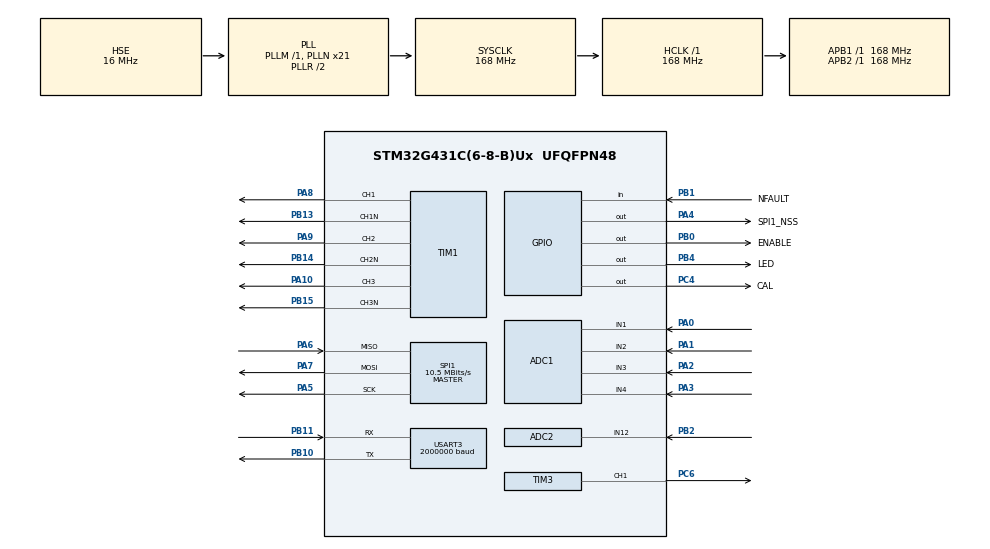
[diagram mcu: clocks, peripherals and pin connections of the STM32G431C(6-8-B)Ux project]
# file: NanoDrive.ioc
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ADC1.Channel-0\#ChannelRegularConversion=ADC_CHANNEL_4
ADC1.ContinuousConvMode=ENABLE
ADC1.DMAContinuousRequests=ENABLE
ADC1.EnableInjectedConversion=ENABLE
ADC1.ExternalTrigInjecConv=ADC_EXTERNALTRIGINJEC_T1_TRGO
ADC1.ExternalTrigInjecConvEdge=ADC_EXTERNALTRIGINJECCONV_EDGE_RISING
ADC1.InjNumberOfConversion=3
ADC1.InjectedChannel-1\#ChannelInjectedConversion=ADC_CHANNEL_1
ADC1.InjectedChannel-2\#ChannelInjectedConversion=ADC_CHANNEL_2
ADC1.InjectedChannel-3\#ChannelInjectedConversion=ADC_CHANNEL_3
ADC1.InjectedOffsetNumber-1\#ChannelInjectedConversion=ADC_OFFSET_NONE
ADC1.InjectedOffsetNumber-2\#ChannelInjectedConversion=ADC_OFFSET_NONE
ADC1.InjectedOffsetNumber-3\#ChannelInjectedConversion=ADC_OFFSET_NONE
ADC1.InjectedRank-1\#ChannelInjectedConversion=1
ADC1.InjectedRank-2\#ChannelInjectedConversion=2
ADC1.InjectedRank-3\#ChannelInjectedConversion=3
ADC1.InjectedSamplingTime-1\#ChannelInjectedConversion=ADC_SAMPLETIME_2CYCLES_5
ADC1.InjectedSamplingTime-2\#ChannelInjectedConversion=ADC_SAMPLETIME_2CYCLES_5
ADC1.InjectedSamplingTime-3\#ChannelInjectedConversion=ADC_SAMPLETIME_2CYCLES_5
ADC1.NbrOfConversionFlag=1
ADC1.OffsetNumber-0\#ChannelRegularConversion=ADC_OFFSET_NONE
ADC1.Rank-0\#ChannelRegularConversion=1
ADC1.Rank1_Channel=ADC_CHANNEL_1
ADC1.Rank2_Channel=ADC_CHANNEL_2
ADC1.Rank3_Channel=ADC_CHANNEL_3
ADC1.SamplingTime-0\#ChannelRegularConversion=ADC_SAMPLETIME_640CYCLES_5
ADC1.injectedQueueMode=DISABLE
ADC1.master=1
ADC2.Channel-0\#ChannelRegularConversion=ADC_CHANNEL_12
ADC2.ContinuousConvMode=ENABLE
ADC2.DMAContinuousRequests=ENABLE
ADC2.NbrOfConversionFlag=1
ADC2.OffsetNumber-0\#ChannelRegularConversion=ADC_OFFSET_NONE
ADC2.Rank-0\#ChannelRegularConversion=1
ADC2.SamplingTime-0\#ChannelRegularConversion=ADC_SAMPLETIME_640CYCLES_5
Dma.ADC1.3.Direction=DMA_PERIPH_TO_MEMORY
Dma.ADC1.3.EventEnable=DISABLE
Dma.ADC1.3.Instance=DMA1_Channel4
Dma.ADC1.3.MemDataAlignment=DMA_MDATAALIGN_HALFWORD
Dma.ADC1.3.MemInc=DMA_MINC_ENABLE
Dma.ADC1.3.Mode=DMA_CIRCULAR
Dma.ADC1.3.PeriphDataAlignment=DMA_PDATAALIGN_HALFWORD
Dma.ADC1.3.PeriphInc=DMA_PINC_DISABLE
Dma.ADC1.3.Polarity=HAL_DMAMUX_REQ_GEN_RISING
Dma.ADC1.3.Priority=DMA_PRIORITY_LOW
Dma.ADC1.3.RequestNumber=1
Dma.ADC1.3.SignalID=NONE
Dma.ADC1.3.SyncEnable=DISABLE
Dma.ADC1.3.SyncPolarity=HAL_DMAMUX_SYNC_NO_EVENT
Dma.ADC1.3.SyncRequestNumber=1
Dma.ADC1.3.SyncSignalID=NONE
Dma.ADC2.2.Direction=DMA_PERIPH_TO_MEMORY
Dma.ADC2.2.EventEnable=DISABLE
Dma.ADC2.2.Instance=DMA1_Channel3
Dma.ADC2.2.MemDataAlignment=DMA_MDATAALIGN_HALFWORD
Dma.ADC2.2.MemInc=DMA_MINC_ENABLE
Dma.ADC2.2.Mode=DMA_CIRCULAR
Dma.ADC2.2.PeriphDataAlignment=DMA_PDATAALIGN_HALFWORD
Dma.ADC2.2.PeriphInc=DMA_PINC_DISABLE
Dma.ADC2.2.Polarity=HAL_DMAMUX_REQ_GEN_RISING
Dma.ADC2.2.Priority=DMA_PRIORITY_LOW
Dma.ADC2.2.RequestNumber=1
Dma.ADC2.2.SignalID=NONE
Dma.ADC2.2.SyncEnable=DISABLE
Dma.ADC2.2.SyncPolarity=HAL_DMAMUX_SYNC_NO_EVENT
Dma.ADC2.2.SyncRequestNumber=1
Dma.ADC2.2.SyncSignalID=NONE
Dma.Request0=USART3_TX
Dma.Request1=USART3_RX
Dma.Request2=ADC2
Dma.Request3=ADC1
Dma.Request4=TIM3_CH1
Dma.TIM3_CH1.4.Direction=DMA_MEMORY_TO_PERIPH
Dma.TIM3_CH1.4.EventEnable=DISABLE
Dma.TIM3_CH1.4.Instance=DMA1_Channel5
Dma.TIM3_CH1.4.MemDataAlignment=DMA_MDATAALIGN_HALFWORD
Dma.TIM3_CH1.4.MemInc=DMA_MINC_ENABLE
Dma.TIM3_CH1.4.Mode=DMA_NORMAL
Dma.TIM3_CH1.4.PeriphDataAlignment=DMA_PDATAALIGN_HALFWORD
Dma.TIM3_CH1.4.PeriphInc=DMA_PINC_DISABLE
Dma.TIM3_CH1.4.Polarity=HAL_DMAMUX_REQ_GEN_RISING
Dma.TIM3_CH1.4.Priority=DMA_PRIORITY_LOW
Dma.TIM3_CH1.4.RequestNumber=1
Dma.TIM3_CH1.4.SignalID=NONE
Dma.TIM3_CH1.4.SyncEnable=DISABLE
Dma.TIM3_CH1.4.SyncPolarity=HAL_DMAMUX_SYNC_NO_EVENT
Dma.TIM3_CH1.4.SyncRequestNumber=1
Dma.TIM3_CH1.4.SyncSignalID=NONE
Dma.USART3_RX.1.Direction=DMA_PERIPH_TO_MEMORY
Dma.USART3_RX.1.EventEnable=DISABLE
Dma.USART3_RX.1.Instance=DMA1_Channel2
Dma.USART3_RX.1.MemDataAlignment=DMA_MDATAALIGN_BYTE
Dma.USART3_RX.1.MemInc=DMA_MINC_ENABLE
Dma.USART3_RX.1.Mode=DMA_NORMAL
Dma.USART3_RX.1.PeriphDataAlignment=DMA_PDATAALIGN_BYTE
Dma.USART3_RX.1.PeriphInc=DMA_PINC_DISABLE
Dma.USART3_RX.1.Polarity=HAL_DMAMUX_REQ_GEN_RISING
Dma.USART3_RX.1.Priority=DMA_PRIORITY_LOW
Dma.USART3_RX.1.RequestNumber=1
Dma.USART3_RX.1.SignalID=NONE
Dma.USART3_RX.1.SyncEnable=DISABLE
Dma.USART3_RX.1.SyncPolarity=HAL_DMAMUX_SYNC_NO_EVENT
Dma.USART3_RX.1.SyncRequestNumber=1
Dma.USART3_RX.1.SyncSignalID=NONE
Dma.USART3_TX.0.Direction=DMA_MEMORY_TO_PERIPH
Dma.USART3_TX.0.EventEnable=DISABLE
Dma.USART3_TX.0.Instance=DMA1_Channel1
Dma.USART3_TX.0.MemDataAlignment=DMA_MDATAALIGN_BYTE
Dma.USART3_TX.0.MemInc=DMA_MINC_ENABLE
Dma.USART3_TX.0.Mode=DMA_NORMAL
Dma.USART3_TX.0.PeriphDataAlignment=DMA_PDATAALIGN_BYTE
Dma.USART3_TX.0.PeriphInc=DMA_PINC_DISABLE
Dma.USART3_TX.0.Polarity=HAL_DMAMUX_REQ_GEN_RISING
Dma.USART3_TX.0.Priority=DMA_PRIORITY_LOW
Dma.USART3_TX.0.RequestNumber=1
Dma.USART3_TX.0.SignalID=NONE
Dma.USART3_TX.0.SyncEnable=DISABLE
Dma.USART3_TX.0.SyncPolarity=HAL_DMAMUX_SYNC_NO_EVENT
Dma.USART3_TX.0.SyncRequestNumber=1
Dma.USART3_TX.0.SyncSignalID=NONE
FREERTOS.Tasks01=defaultTask,-2,256,StartDefaultTask,Default,NULL,Dynamic,NULL,NULL;RGB_Task,-1,256,StartTask_RGB,Default,NULL,Dynamic,NULL,NULL;LED_Task,-2,256,StartTask_LED,Default,NULL,Dynamic,NULL,NULL;info_task,0,1024,start_info_task,Default,NULL,Dynamic,NULL,NULL;control_task,1,256,start_control_task,Default,NULL,Dynamic,NULL,NULL
FREERTOS.configTOTAL_HEAP_SIZE=20480
FREERTOS.configUSE_IDLE_HOOK=1
Mcu.Family=STM32G4
Mcu.Name=STM32G431C(6-8-B)Ux
Mcu.Package=UFQFPN48
Mcu.UserConstants=TIM_1_PERIOD_CLOCKS,3500;TIM_1_DEADTIME_CLOCKS,20;TIM_APB1_CLOCK_HZ,84000000;TIM_APB1_DEADTIME_CLOCKS,40;TIM_APB1_PERIOD_CLOCKS,4096;TIM_1_RCR,2;RGB_CLOCK_HZ,800000;RGB_PERIOD_CLOCKS,(TIM_1_CLOCK_HZ)/(RGB_CLOCK_HZ);TIM_1_CLOCK_HZ,168000000
NVIC.DMA1_Channel1_IRQn=true\:5\:0\:false\:false\:true\:true\:false\:true\:true
NVIC.DMA1_Channel2_IRQn=true\:5\:0\:false\:false\:true\:true\:false\:true\:true
NVIC.DMA1_Channel3_IRQn=true\:5\:0\:false\:false\:true\:true\:false\:true\:true
NVIC.DMA1_Channel4_IRQn=true\:5\:0\:false\:false\:true\:true\:false\:true\:true
NVIC.DMA1_Channel5_IRQn=true\:5\:0\:false\:false\:true\:true\:false\:true\:true
NVIC.PriorityGroup=NVIC_PRIORITYGROUP_4
NVIC.TIM1_UP_TIM16_IRQn=true\:5\:0\:false\:false\:false\:true\:true\:false\:true
NVIC.TIM7_IRQn=true\:15\:0\:false\:false\:true\:false\:false\:true\:true
NVIC.TimeBase=TIM7_IRQn
NVIC.TimeBaseIP=TIM7
NVIC.USART3_IRQn=true\:5\:0\:false\:false\:true\:true\:false\:true\:true
PA0.Mode=IN1-Single-Ended
PA0.Signal=ADC1_IN1
PA1.Mode=IN2-Single-Ended
PA1.Signal=ADC1_IN2
PA10.Signal=S_TIM1_CH3
PA13.Mode=Serial_Wire
PA13.Signal=SYS_JTMS-SWDIO
PA14.Mode=Serial_Wire
PA14.Signal=SYS_JTCK-SWCLK
PA2.Mode=IN3-Single-Ended
PA2.Signal=ADC1_IN3
PA3.Mode=IN4-Single-Ended
PA3.Signal=ADC1_IN4
PA4.GPIO_Label=SPI1_NSS
PA4.Signal=GPIO_Output
PA5.Mode=Full_Duplex_Master
PA5.Signal=SPI1_SCK
PA6.Mode=Full_Duplex_Master
PA6.Signal=SPI1_MISO
PA7.Mode=Full_Duplex_Master
PA7.Signal=SPI1_MOSI
PA8.Signal=S_TIM1_CH1
PA9.Signal=S_TIM1_CH2
PB0.GPIO_Label=ENABLE
PB0.Signal=GPIO_Output
PB1.GPIO_Label=NFAULT
PB1.GPIO_PuPd=GPIO_PULLUP
PB1.Signal=GPIO_Input
PB10.Mode=Asynchronous
PB10.Signal=USART3_TX
PB11.Mode=Asynchronous
PB11.Signal=USART3_RX
PB13.Mode=PWM Generation1 CH1 CH1N
PB13.Signal=TIM1_CH1N
PB14.Mode=PWM Generation2 CH2 CH2N
PB14.Signal=TIM1_CH2N
PB15.Mode=PWM Generation3 CH3 CH3N
PB15.Signal=TIM1_CH3N
PB2.Mode=IN12-Single-Ended
PB2.Signal=ADC2_IN12
PB4.GPIO_Label=LED
PB4.Signal=GPIO_Output
PC4.GPIO_Label=CAL
PC4.Signal=GPIO_Output
PC6.Signal=S_TIM3_CH1
PF0-OSC_IN.Mode=HSE-External-Oscillator
PF0-OSC_IN.Signal=RCC_OSC_IN
PF1-OSC_OUT.Mode=HSE-External-Oscillator
PF1-OSC_OUT.Signal=RCC_OSC_OUT
ProjectManager.HeapSize=0x400
ProjectManager.StackSize=0x800
ProjectManager.TargetToolchain=MDK-ARM V5.32
RCC.ADC12Freq_Value=168000000
RCC.AHBFreq_Value=168000000
RCC.APB1Freq_Value=168000000
RCC.APB1TimFreq_Value=168000000
RCC.APB2Freq_Value=168000000
RCC.APB2TimFreq_Value=168000000
RCC.CK48CLockSelection=RCC_USBCLKSOURCE_HSI48
RCC.CortexFreq_Value=168000000
RCC.EXTERNAL_CLOCK_VALUE=12288000
RCC.HCLKFreq_Value=168000000
RCC.HSE_VALUE=16000000
RCC.HSI48_VALUE=48000000
RCC.HSI_VALUE=16000000
RCC.LSE_VALUE=32768
RCC.PLLN=21
RCC.PLLSourceVirtual=RCC_PLLSOURCE_HSE
RCC.SYSCLKFreq_VALUE=168000000
RCC.SYSCLKSource=RCC_SYSCLKSOURCE_PLLCLK
RCC.USBFreq_Value=48000000
RCC.VCOOutputFreq_Value=336000000
SH.S_TIM1_CH1.0=TIM1_CH1,PWM Generation1 CH1 CH1N
SH.S_TIM1_CH2.0=TIM1_CH2,PWM Generation2 CH2 CH2N
SH.S_TIM1_CH3.0=TIM1_CH3,PWM Generation3 CH3 CH3N
SH.S_TIM3_CH1.0=TIM3_CH1,PWM Generation1 CH1
SPI1.BaudRatePrescaler=SPI_BAUDRATEPRESCALER_16
SPI1.CLKPhase=SPI_PHASE_2EDGE
SPI1.CalculateBaudRate=10.5 MBits/s
SPI1.DataSize=SPI_DATASIZE_16BIT
SPI1.Direction=SPI_DIRECTION_2LINES
SPI1.Mode=SPI_MODE_MASTER
SPI1.VirtualType=VM_MASTER
STMicroelectronics.X-CUBE-ALGOBUILD.1.4.0.LibraryCcDSPOoLibraryJjDSPOoLibrary=true
TIM1.Channel-PWM\ Generation1\ CH1\ CH1N=TIM_CHANNEL_1
TIM1.Channel-PWM\ Generation2\ CH2\ CH2N=TIM_CHANNEL_2
TIM1.Channel-PWM\ Generation3\ CH3\ CH3N=TIM_CHANNEL_3
TIM1.CounterMode=TIM_COUNTERMODE_CENTERALIGNED3
TIM1.DeadTime=TIM_1_DEADTIME_CLOCKS
TIM1.DeadTimePreload=DISABLE
TIM1.OCMode_PWM-PWM\ Generation1\ CH1\ CH1N=TIM_OCMODE_PWM2
TIM1.OCMode_PWM-PWM\ Generation2\ CH2\ CH2N=TIM_OCMODE_PWM2
TIM1.OCMode_PWM-PWM\ Generation3\ CH3\ CH3N=TIM_OCMODE_PWM2
TIM1.OffStateIDLEMode=TIM_OSSI_ENABLE
TIM1.OffStateRunMode=TIM_OSSR_ENABLE
TIM1.PeriodNoDither=TIM_1_PERIOD_CLOCKS
TIM1.RepetitionCounter=TIM_1_RCR
TIM1.TIM_MasterOutputTrigger=TIM_TRGO_UPDATE
TIM3.Channel-PWM\ Generation1\ CH1=TIM_CHANNEL_1
TIM3.PeriodNoDither=RGB_PERIOD_CLOCKS
USART3.BaudRate=2000000
USART3.VirtualMode-Asynchronous=VM_ASYNC
VP_FREERTOS_VS_CMSIS_V1.Mode=CMSIS_V1
VP_STMicroelectronics.X-CUBE-ALGOBUILD_VS_DSPOoLibraryJjLibrary_1.4.0_1.4.0.Mode=DSPOoLibraryJjLibrary
VP_SYS_VS_DBSignals.Mode=DisableDeadBatterySignals
VP_SYS_VS_tim7.Mode=TIM7
VP_TIM1_VS_ClockSourceINT.Mode=Internal
VP_TIM3_VS_ClockSourceINT.Mode=Internal
board=custom

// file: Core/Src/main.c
/* USER CODE BEGIN Header */
/**
 ******************************************************************************
 * @file           : main.c
 * @brief          : Main program body
 ******************************************************************************
 * @attention
 *
 * Copyright (c) 2025 STMicroelectronics.
 * All rights reserved.
 *
 * This software is licensed under terms that can be found in the LICENSE file
 * in the root directory of this software component.
 * If no LICENSE file comes with this software, it is provided AS-IS.
 *
 ******************************************************************************
 */
/* USER CODE END Header */
#include "main.h"
#include "cmsis_os.h"
#include "adc.h"
#include "dma.h"
#include "spi.h"
#include "tim.h"
#include "usart.h"
#include "gpio.h"

/* USER CODE BEGIN Includes */
#include "drive_main.h"
/* USER CODE END Includes */

void SystemClock_Config(void);
void MX_FREERTOS_Init(void);

int main(void)
{

  /* MCU Configuration--------------------------------------------------------*/

  /* Reset of all peripherals, Initializes the Flash interface and the Systick. */
  HAL_Init();

  /* Configure the system clock */
  SystemClock_Config();

  /* Initialize all configured peripherals */
  MX_GPIO_Init();
  MX_DMA_Init();
  MX_ADC1_Init();
  MX_ADC2_Init();
  MX_SPI1_Init();
  MX_USART3_UART_Init();
  MX_TIM1_Init();
  MX_TIM3_Init();
  /* USER CODE BEGIN 2 */
    drive_init();
  /* USER CODE END 2 */

  /* Call init function for freertos objects (in cmsis_os2.c) */
  MX_FREERTOS_Init();

  /* Start scheduler */
  osKernelStart();

  /* We should never get here as control is now taken by the scheduler */

  /* Infinite loop */
    while (1) {

    }
}

void SystemClock_Config(void)
{
  RCC_OscInitTypeDef RCC_OscInitStruct = {0};
  RCC_ClkInitTypeDef RCC_ClkInitStruct = {0};

  /** Configure the main internal regulator output voltage
  */
  HAL_PWREx_ControlVoltageScaling(PWR_REGULATOR_VOLTAGE_SCALE1_BOOST);

  /** Initializes the RCC Oscillators according to the specified parameters
  * in the RCC_OscInitTypeDef structure.
  */
  RCC_OscInitStruct.OscillatorType = RCC_OSCILLATORTYPE_HSE;
  RCC_OscInitStruct.HSEState = RCC_HSE_ON;
  RCC_OscInitStruct.PLL.PLLState = RCC_PLL_ON;
  RCC_OscInitStruct.PLL.PLLSource = RCC_PLLSOURCE_HSE;
  RCC_OscInitStruct.PLL.PLLM = RCC_PLLM_DIV1;
  RCC_OscInitStruct.PLL.PLLN = 21;
  RCC_OscInitStruct.PLL.PLLP = RCC_PLLP_DIV2;
  RCC_OscInitStruct.PLL.PLLQ = RCC_PLLQ_DIV2;
  RCC_OscInitStruct.PLL.PLLR = RCC_PLLR_DIV2;
  if (HAL_RCC_OscConfig(&RCC_OscInitStruct) != HAL_OK)
  {
    Error_Handler();
  }

  /** Initializes the CPU, AHB and APB buses clocks
  */
  RCC_ClkInitStruct.ClockType = RCC_CLOCKTYPE_HCLK|RCC_CLOCKTYPE_SYSCLK
                              |RCC_CLOCKTYPE_PCLK1|RCC_CLOCKTYPE_PCLK2;
  RCC_ClkInitStruct.SYSCLKSource = RCC_SYSCLKSOURCE_PLLCLK;
  RCC_ClkInitStruct.AHBCLKDivider = RCC_SYSCLK_DIV1;
  RCC_ClkInitStruct.APB1CLKDivider = RCC_HCLK_DIV1;
  RCC_ClkInitStruct.APB2CLKDivider = RCC_HCLK_DIV1;

  if (HAL_RCC_ClockConfig(&RCC_ClkInitStruct, FLASH_LATENCY_4) != HAL_OK)
  {
    Error_Handler();
  }
}

void HAL_TIM_PeriodElapsedCallback(TIM_HandleTypeDef *htim)
{
  if (htim->Instance == TIM7) {
    HAL_IncTick();
  }
}

void Error_Handler(void)
{
    __disable_irq();
    while (1) {
    }
}

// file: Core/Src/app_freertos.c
/* USER CODE BEGIN Header */
/**
 ******************************************************************************
 * File Name          : app_freertos.c
 * Description        : Code for freertos applications
 ******************************************************************************
 * @attention
 *
 * Copyright (c) 2025 STMicroelectronics.
 * All rights reserved.
 *
 * This software is licensed under terms that can be found in the LICENSE file
 * in the root directory of this software component.
 * If no LICENSE file comes with this software, it is provided AS-IS.
 *
 ******************************************************************************
 */
/* USER CODE END Header */

#include "FreeRTOS.h"
#include "task.h"
#include "main.h"
#include "cmsis_os.h"

/* USER CODE BEGIN Includes */
#include "interface_uart.h"
#include "board.h"
/* USER CODE END Includes */

/* USER CODE BEGIN PM */
extern uint32_t all_error;
extern float vbus_voltage;
extern Iph_ABC_t current_meas_;

extern float phase_;        // [rad]
extern float phase_vel_;    // [rad/s]
extern float pos_estimate_; // [turn]
extern float vel_estimate_; // [turn/s]
/* USER CODE END PM */

osThreadId defaultTaskHandle;
osThreadId RGB_TaskHandle;
osThreadId LED_TaskHandle;
osThreadId info_taskHandle;
osThreadId control_taskHandle;

void StartDefaultTask(void const *argument);
void StartTask_RGB(void const *argument);
void StartTask_LED(void const *argument);
void start_info_task(void const *argument);
void start_control_task(void const *argument);

void MX_FREERTOS_Init(void); /* (MISRA C 2004 rule 8.1) */

/* Hook prototypes */
void vApplicationIdleHook(void);

/* USER CODE BEGIN 2 */
__weak void vApplicationIdleHook(void)
{
    /* vApplicationIdleHook() will only be called if configUSE_IDLE_HOOK is set
    to 1 in FreeRTOSConfig.h. It will be called on each iteration of the idle
    task. It is essential that code added to this hook function never attempts
    to block in any way (for example, call xQueueReceive() with a block time
    specified, or call vTaskDelay()). If the application makes use of the
    vTaskDelete() API function (as this demo application does) then it is also
    important that vApplicationIdleHook() is permitted to return to its calling
    function, because it is the responsibility of the idle task to clean up
    memory allocated by the kernel to any task that has since been deleted. */
}
/* USER CODE END 2 */

void MX_FREERTOS_Init(void)
{

    /* Create the thread(s) */
    /* definition and creation of defaultTask */
    osThreadDef(defaultTask, StartDefaultTask, osPriorityLow, 0, 256);
    defaultTaskHandle = osThreadCreate(osThread(defaultTask), NULL);

    /* definition and creation of RGB_Task */
    osThreadDef(RGB_Task, StartTask_RGB, osPriorityBelowNormal, 0, 256);
    RGB_TaskHandle = osThreadCreate(osThread(RGB_Task), NULL);

    /* definition and creation of LED_Task */
    osThreadDef(LED_Task, StartTask_LED, osPriorityLow, 0, 256);
    LED_TaskHandle = osThreadCreate(osThread(LED_Task), NULL);

    /* definition and creation of info_task */
    osThreadDef(info_task, start_info_task, osPriorityNormal, 0, 1024);
    info_taskHandle = osThreadCreate(osThread(info_task), NULL);

    /* definition and creation of control_task */
    osThreadDef(control_task, start_control_task, osPriorityAboveNormal, 0, 256);
    control_taskHandle = osThreadCreate(osThread(control_task), NULL);

}

void StartDefaultTask(void const *argument)
{
    /* USER CODE BEGIN StartDefaultTask */
    /* Infinite loop */
    for (;;) { osDelay(1); }
    /* USER CODE END StartDefaultTask */
}

void StartTask_RGB(void const *argument)
{
    /* USER CODE BEGIN StartTask_RGB */
    /* Infinite loop */
    for (;;) { osDelay(1); }
    /* USER CODE END StartTask_RGB */
}

void StartTask_LED(void const *argument)
{
    /* USER CODE BEGIN StartTask_LED */
    /* Infinite loop */
    for (;;) {
        HAL_GPIO_TogglePin(LED_GPIO_Port, LED_Pin);
        osDelay(500);
    }
    /* USER CODE END StartTask_LED */
}

void start_info_task(void const *argument)
{
    /* USER CODE BEGIN start_info_task */
    /* Infinite loop */
    for (;;) {
        usart_printf("CCR:%d, %.3f, %d, %d, %d, %f, %f, %f, %f, %f, %f, %f\n", all_error, vbus_voltage, TIM1->CCR1,
                     TIM1->CCR2, TIM1->CCR3, current_meas_.phA, current_meas_.phB, current_meas_.phC, phase_,
                     phase_vel_, pos_estimate_, vel_estimate_);
        osDelay(1);
    }
    /* USER CODE END start_info_task */
}

void start_control_task(void const *argument)
{
    /* USER CODE BEGIN start_control_task */
    /* Infinite loop */
    for (;;) { osDelay(1); }
    /* USER CODE END start_control_task */
}
